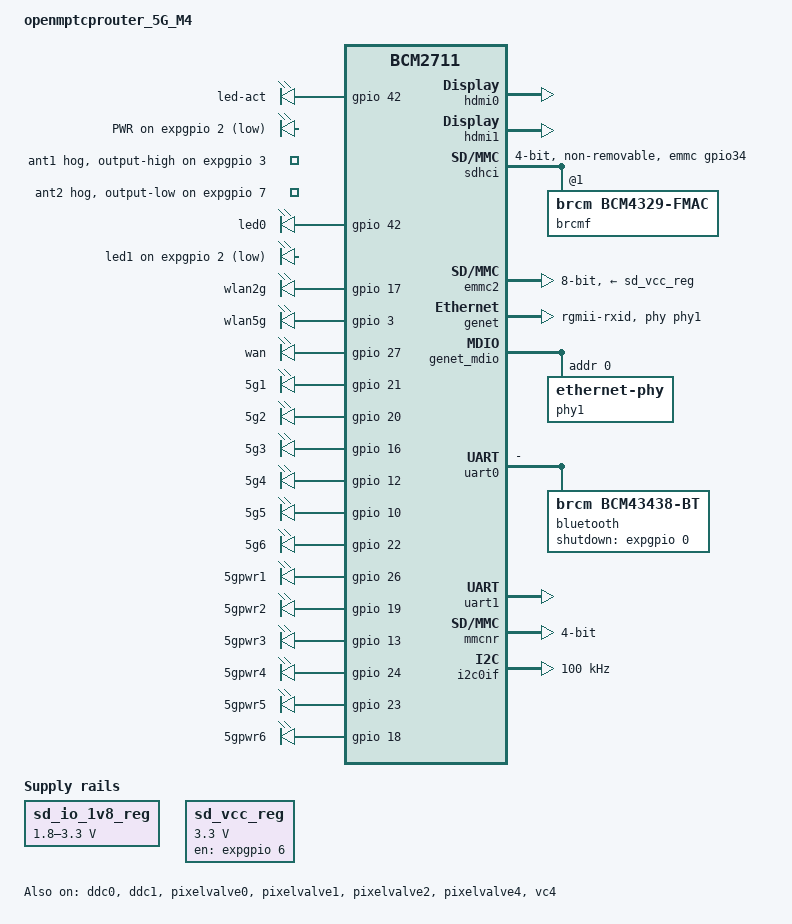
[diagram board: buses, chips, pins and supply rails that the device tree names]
// SPDX-License-Identifier: GPL-2.0
/dts-v1/;
#include "bcm2711.dtsi"
#include "bcm2711-rpi.dtsi"
//#include "bcm283x-rpi-usb-peripheral.dtsi"

/ {
	compatible = "raspberrypi,4-compute-module", "brcm,bcm2711";
	model = "openmptcprouter_5G_M4";

	chosen {
		/* 8250 auxiliary UART instead of pl011 */
		stdout-path = "serial1:115200n8";
	};

	leds {
		led-act {
			gpios = <&gpio 42 GPIO_ACTIVE_HIGH>;
		};

		led-pwr {
			label = "PWR";
			gpios = <&expgpio 2 GPIO_ACTIVE_LOW>;
			default-state = "keep";
			linux,default-trigger = "default-on";
		};
	};

	wifi_pwrseq: wifi-pwrseq {
		compatible = "mmc-pwrseq-simple";
		reset-gpios = <&expgpio 1 GPIO_ACTIVE_LOW>;
	};

	sd_io_1v8_reg: sd_io_1v8_reg {
		compatible = "regulator-gpio";
		regulator-name = "vdd-sd-io";
		regulator-min-microvolt = <1800000>;
		regulator-max-microvolt = <3300000>;
		regulator-boot-on;
		regulator-always-on;
		regulator-settling-time-us = <5000>;
		gpios = <&expgpio 4 GPIO_ACTIVE_HIGH>;
		states = <1800000 0x1>,
			 <3300000 0x0>;
		status = "okay";
	};

	sd_vcc_reg: sd_vcc_reg {
		compatible = "regulator-fixed";
		regulator-name = "vcc-sd";
		regulator-min-microvolt = <3300000>;
		regulator-max-microvolt = <3300000>;
		regulator-boot-on;
		enable-active-high;
		gpio = <&expgpio 6 GPIO_ACTIVE_HIGH>;
	};
};

&ddc0 {
	status = "okay";
};

&ddc1 {
	status = "okay";
};

&expgpio {
	gpio-line-names = "BT_ON",
			  "WL_ON",
			  "PWR_LED_OFF",
			  "ANT1",
			  "VDD_SD_IO_SEL",
			  "CAM_GPIO",
			  "SD_PWR_ON",
			  "ANT2";

	ant1: ant1 {
		gpio-hog;
		gpios = <3 GPIO_ACTIVE_HIGH>;
		output-high;
	};

	ant2: ant2 {
		gpio-hog;
		gpios = <7 GPIO_ACTIVE_HIGH>;
		output-low;
	};
};

&gpio {
	/*
	 * Parts taken from rpi_SCH_4b_4p0_reduced.pdf and
	 * the official GPU firmware DT blob.
	 *
	 * Legend:
	 * "FOO" = GPIO line named "FOO" on the schematic
	 * "FOO_N" = GPIO line named "FOO" on schematic, active low
	 */
	gpio-line-names = "ID_SDA",
			  "ID_SCL",
			  "SDA1",
			  "SCL1",
			  "GPIO_GCLK",
			  "GPIO5",
			  "GPIO6",
			  "SPI_CE1_N",
			  "SPI_CE0_N",
			  "SPI_MISO",
			  "SPI_MOSI",
			  "SPI_SCLK",
			  /* Serial port */
			  "TXD1",
			  "RXD1",
			  "GPIO25",
			  "RGMII_MDIO",
			  "RGMIO_MDC",
			  /* Used by BT module */
			  "CTS0",
			  "RTS0",
			  "TXD0",
			  "RXD0",
			  /* Used by Wifi */
			  "SD1_CLK",
			  "SD1_CMD",
			  "SD1_DATA0",
			  "SD1_DATA1",
			  "SD1_DATA2",
			  "SD1_DATA3",
			  /* Shared with SPI flash */
			  "PWM0_MISO",
			  "PWM1_MOSI",
			  "STATUS_LED_G_CLK",
			  "SPIFLASH_CE_N",
			  "SDA0",
			  "SCL0",
			  "RGMII_RXCLK",
			  "RGMII_RXCTL",
			  "RGMII_RXD0",
			  "RGMII_RXD1",
			  "RGMII_RXD2",
			  "RGMII_RXD3",
			  "RGMII_TXCLK",
			  "RGMII_TXCTL",
			  "RGMII_TXD0",
			  "RGMII_TXD1",
			  "RGMII_TXD2",
			  "RGMII_TXD3";
};

&hdmi0 {
	status = "okay";
};

&hdmi1 {
	status = "okay";
};

&pixelvalve0 {
	status = "okay";
};

&pixelvalve1 {
	status = "okay";
};

&pixelvalve2 {
	status = "okay";
};

&pixelvalve4 {
	status = "okay";
};

&pwm1 {
	pinctrl-names = "default";
	pinctrl-0 = <&pwm1_0_gpio40 &pwm1_1_gpio41>;
	status = "okay";
};

/* SDHCI is used to control the SDIO for wireless */
&sdhci {
	#address-cells = <1>;
	#size-cells = <0>;
	pinctrl-names = "default";
	pinctrl-0 = <&emmc_gpio34>;
	bus-width = <4>;
	non-removable;
	mmc-pwrseq = <&wifi_pwrseq>;
	status = "okay";

	brcmf: wifi@1 {
		reg = <1>;
		compatible = "brcm,bcm4329-fmac";
	};
};

/* EMMC2 is used to drive the EMMC card */
&emmc2 {
	bus-width = <8>;
	vqmmc-supply = <&sd_io_1v8_reg>;
	vmmc-supply = <&sd_vcc_reg>;
	broken-cd;
	status = "okay";
};

&genet {
	phy-handle = <&phy1>;
	phy-mode = "rgmii-rxid";
	status = "okay";
};

&genet_mdio {
	phy1: ethernet-phy@0 {
		/* No PHY interrupt */
		reg = <0x0>;
	};
};

&pcie0 {
	pci@0,0 {
		device-type = "pci";
		#address-cells = <3>;
		#size-cells = <2>;
		ranges;

		reg = <0 0 0 0 0>;

		usb@0,0 {
			reg = <0 0 0 0 0>;
			resets = <&reset RASPBERRYPI_FIRMWARE_RESET_ID_USB>;
		};
	};
};

/* uart0 communicates with the BT module */
&uart0 {
	pinctrl-names = "default";
	pinctrl-0 = <&uart0_ctsrts_gpio30 &uart0_gpio32>;
	uart-has-rtscts;
	status = "okay";

	bluetooth {
		compatible = "brcm,bcm43438-bt";
		max-speed = <2000000>;
		shutdown-gpios = <&expgpio 0 GPIO_ACTIVE_HIGH>;
	};
};

/* uart1 is mapped to the pin header */
&uart1 {
	pinctrl-names = "default";
	pinctrl-0 = <&uart1_gpio14>;
	status = "okay";
};

&vchiq {
	interrupts = <GIC_SPI 34 IRQ_TYPE_LEVEL_HIGH>;
};

&vc4 {
	status = "okay";
};

&vec {
	status = "disabled";
};

// =============================================
// Downstream rpi- changes

#define BCM2711

#include "bcm270x.dtsi"
#include "bcm271x-rpi-bt.dtsi"

/ {
	soc {
		/delete-node/ pixelvalve@7e807000;
		/delete-node/ hdmi@7e902000;
	};
};

#include "bcm2711-rpi-ds.dtsi"
#include "bcm283x-rpi-csi0-2lane.dtsi"
#include "bcm283x-rpi-csi1-4lane.dtsi"
#include "bcm283x-rpi-i2c0mux_0_44.dtsi"

/ {
	chosen {
		bootargs = "coherent_pool=1M 8250.nr_uarts=1 snd_bcm2835.enable_compat_alsa=0 snd_bcm2835.enable_hdmi=1";
	};

	aliases {
		serial0 = &uart1;
		serial1 = &uart0;
		mmc0 = &emmc2;
		mmc1 = &mmcnr;
		mmc2 = &sdhost;
		i2c3 = &i2c3;
		i2c4 = &i2c4;
		i2c5 = &i2c5;
		i2c6 = &i2c6;
		i2c20 = &ddc0;
		i2c21 = &ddc1;
		spi3 = &spi3;
		spi4 = &spi4;
		spi5 = &spi5;
		spi6 = &spi6;
		/delete-property/ intc;
	};

	/delete-node/ wifi-pwrseq;
};

&mmcnr {
	pinctrl-names = "default";
	pinctrl-0 = <&sdio_pins>;
	bus-width = <4>;
	status = "okay";
};

&uart0 {
	pinctrl-0 = <&uart0_pins &bt_pins>;
	status = "okay";
};

&uart1 {
	pinctrl-0 = <&uart1_pins>;
};

&gpio {

	sdio_pins: sdio_pins {
		brcm,pins =     <34 35 36 37 38 39>;
		brcm,function = <BCM2835_FSEL_ALT3>; // alt3 = SD1
		brcm,pull =     <0 2 2 2 2 2>;
	};

	bt_pins: bt_pins {
		brcm,pins = "-"; // non-empty to keep btuart happy, //4 = 0
				 // to fool pinctrl
		brcm,function = <0>;
		brcm,pull = <2>;
	};

	uart0_pins: uart0_pins {
		brcm,pins = <32 33>;
		brcm,function = <BCM2835_FSEL_ALT3>;
		brcm,pull = <0 2>;
	};

	uart1_pins: uart1_pins {
		brcm,pins;
		brcm,function;
		brcm,pull;
	};

	uart2_pins: uart2_pins {
		brcm,pins = <0 1>;
		brcm,function = <BCM2835_FSEL_ALT4>;
		brcm,pull = <0 2>;
	};

	uart3_pins: uart3_pins {
		brcm,pins = <4 5>;
		brcm,function = <BCM2835_FSEL_ALT4>;
		brcm,pull = <0 2>;
	};

	uart4_pins: uart4_pins {
		brcm,pins = <8 9>;
		brcm,function = <BCM2835_FSEL_ALT4>;
		brcm,pull = <0 2>;
	};
};

&i2c0if {
	clock-frequency = <100000>;
};

// =============================================
// Board specific stuff here

&pcie0 {
       brcm,enable-l1ss;
};

&sdhost {
	status = "disabled";
};

&phy1 {
	led-modes = <0x00 0x08>; /* link/activity link */
};

&gpio {
	audio_pins: audio_pins {
		brcm,pins = <>;
		brcm,function = <>;
	};
};

&leds {
	act_led: led-act {
		label = "led0";
		linux,default-trigger = "mmc0";
		gpios = <&gpio 42 GPIO_ACTIVE_HIGH>;
	};

	pwr_led: led-pwr {
		label = "led1";
		linux,default-trigger = "default-on";
		gpios = <&expgpio 2 GPIO_ACTIVE_LOW>;
	};
	
		wlan2g {
				label = "wlan2g";
				gpios = <&gpio 17 GPIO_ACTIVE_HIGH>;
			};
	
		wlan5g {
				label = "wlan5g";
				gpios = <&gpio 3 GPIO_ACTIVE_HIGH>;
			};
	
		wan {
				label = "wan";
				gpios = <&gpio 27 GPIO_ACTIVE_HIGH>;
			};  
	   
		5g1 {
				label = "5g1";
				gpios = <&gpio 21 GPIO_ACTIVE_HIGH>;
			};  
	   
		5g2 {
				label = "5g2";
				gpios = <&gpio 20 GPIO_ACTIVE_HIGH>;
			};  
	   
		5g3 {
				label = "5g3";
				gpios = <&gpio 16 GPIO_ACTIVE_HIGH>;
			};  
	
		5g4 {
				label = "5g4";
				gpios = <&gpio 12 GPIO_ACTIVE_HIGH>;
			};   
	  
		5g5 {
				label = "5g5";
				gpios = <&gpio 10 GPIO_ACTIVE_HIGH>;
			}; 
	    
		5g6 {
				label = "5g6";
				gpios = <&gpio 22 GPIO_ACTIVE_HIGH>;
			};
	  
		5gpwr1 {
				label = "5gpwr1";
				gpios = <&gpio 26 GPIO_ACTIVE_HIGH>;
			}; 
	    
		5gpwr2 {
				label = "5gpwr2";
				gpios = <&gpio 19 GPIO_ACTIVE_HIGH>;
			};  
	   
		5gpwr3 {
				label = "5gpwr3";
				gpios = <&gpio 13 GPIO_ACTIVE_HIGH>;
			};  
	
		5gpwr4 {
				label = "5gpwr4";
				gpios = <&gpio 24 GPIO_ACTIVE_HIGH>;
			};    
	 
		5gpwr5 {
				label = "5gpwr5";
				gpios = <&gpio 23 GPIO_ACTIVE_HIGH>;
			};  
	   
		5gpwr6 {
				label = "5gpwr6";
				gpios = <&gpio 18 GPIO_ACTIVE_HIGH>;
			};  
};

&pwm1 {
	status = "disabled";
};

&audio {
	pinctrl-names = "default";
	pinctrl-0 = <&audio_pins>;
	brcm,disable-headphones = <1>;
};

/ {
	__overrides__ {
		act_led_gpio = <&act_led>,"gpios:4";
		act_led_activelow = <&act_led>,"gpios:8";
		act_led_trigger = <&act_led>,"linux,default-trigger";

		pwr_led_gpio = <&pwr_led>,"gpios:4";
		pwr_led_activelow = <&pwr_led>,"gpios:8";
		pwr_led_trigger = <&pwr_led>,"linux,default-trigger";

		eth_led0 = <&phy1>,"led-modes:0";
		eth_led1 = <&phy1>,"led-modes:4";

		ant1 =  <&ant1>,"output-high?=on",
			<&ant1>, "output-low?=off",
			<&ant2>, "output-high?=off",
			<&ant2>, "output-low?=on";
		ant2 =  <&ant1>,"output-high?=off",
			<&ant1>, "output-low?=on",
			<&ant2>, "output-high?=on",
			<&ant2>, "output-low?=off";
		noant = <&ant1>,"output-high?=off",
			<&ant1>, "output-low?=on",
			<&ant2>, "output-high?=off",
			<&ant2>, "output-low?=on";

		sd_poll_once = <&emmc2>, "non-removable?";
		spi_dma4 = <&spi0>, "dmas:0=", <&dma40>,
			   <&spi0>, "dmas:8=", <&dma40>;
	};
};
